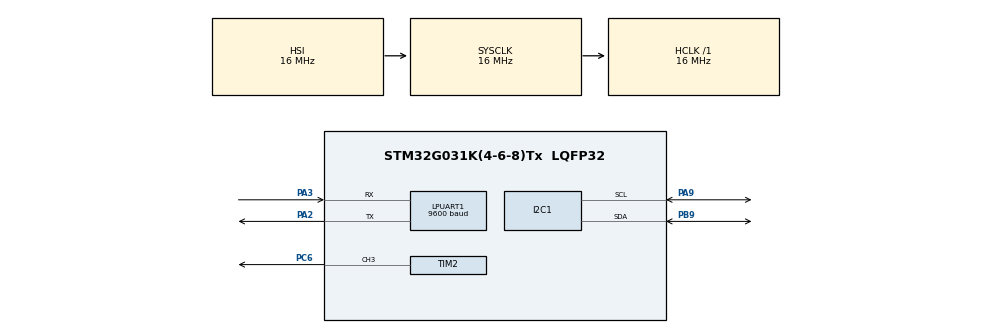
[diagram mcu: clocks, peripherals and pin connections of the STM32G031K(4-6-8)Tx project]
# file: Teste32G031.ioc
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I2C1.Timing=0x00503D58
LPUART1.BaudRate=9600
LPUART1.WordLength=UART_WORDLENGTH_8B
Mcu.Family=STM32G0
Mcu.Name=STM32G031K(4-6-8)Tx
Mcu.Package=LQFP32
PA2.Mode=Asynchronous
PA2.Signal=LPUART1_TX
PA3.Mode=Asynchronous
PA3.Signal=LPUART1_RX
PA9.Mode=I2C
PA9.Signal=I2C1_SCL
PB9.Mode=I2C
PB9.Signal=I2C1_SDA
PC6.Signal=S_TIM2_CH3
ProjectManager.HeapSize=0x200
ProjectManager.StackSize=0x400
ProjectManager.TargetToolchain=STM32CubeIDE
RCC.ADCFreq_Value=16000000
RCC.AHBFreq_Value=16000000
RCC.CortexFreq_Value=16000000
RCC.EXTERNAL_CLOCK_VALUE=12288000
RCC.HCLKFreq_Value=16000000
RCC.HSE_VALUE=8000000
RCC.HSI_VALUE=16000000
RCC.LSE_VALUE=32768
RCC.MSIAutoCalibration=DISABLED
RCC.MSICalibrationValue=0
RCC.SYSCLKFreq_VALUE=16000000
RCC.VCOOutputFreq_Value=128000000
SH.S_TIM2_CH3.0=TIM2_CH3,PWM Generation3 CH3
TIM2.Channel-PWM\ Generation3\ CH3=TIM_CHANNEL_3
TIM2.Period=999
TIM2.Prescaler=15
board=custom

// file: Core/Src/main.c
/* USER CODE BEGIN Header */
/**
  ******************************************************************************
  * @file           : main.c
  * @brief          : Main program body
  ******************************************************************************
  * @attention
  *
  * Copyright (c) 2026 STMicroelectronics.
  * All rights reserved.
  *
  * This software is licensed under terms that can be found in the LICENSE file
  * in the root directory of this software component.
  * If no LICENSE file comes with this software, it is provided AS-IS.
  *
  ******************************************************************************
  */
/* USER CODE END Header */
#include "main.h"

/* USER CODE BEGIN Includes */
#include "platform/platform.h"
#include <stdio.h>
#include "INA3221.h"
/* USER CODE END Includes */

I2C_HandleTypeDef hi2c1;

UART_HandleTypeDef hlpuart1;

TIM_HandleTypeDef htim2;

void SystemClock_Config(void);
static void MX_GPIO_Init(void);
static void MX_I2C1_Init(void);
static void MX_LPUART1_UART_Init(void);
static void MX_TIM2_Init(void);
/* USER CODE BEGIN PFP */
void I2C_Recover_Bus(void);
/* USER CODE END PFP */

/* USER CODE BEGIN 0 */
#ifdef __GNUC__

/* With GCC/RAISONANCE, small printf (option LD Linker->Libraries->Small printf
 set to 'Yes') calls __io_putchar() */
#define PUTCHAR_PROTOTYPE int __io_putchar(int ch)
#else
#define PUTCHAR_PROTOTYPE int fputc(int ch, FILE *f)
#endif /* __GNUC__ */

PUTCHAR_PROTOTYPE
{
 HAL_UART_Transmit(&hlpuart1, (uint8_t *)&ch, 1, 0xFFFF);
 return ch;
}
/* USER CODE END 0 */

int main(void)
{

  /* MCU Configuration--------------------------------------------------------*/

  /* Reset of all peripherals, Initializes the Flash interface and the Systick. */
  HAL_Init();

  /* Configure the system clock */
  SystemClock_Config();

  /* Initialize all configured peripherals */
  MX_GPIO_Init();
  MX_I2C1_Init();
  MX_LPUART1_UART_Init();
  MX_TIM2_Init();
  /* USER CODE BEGIN 2 */

  // ***************CONFIGURAÇÃO DO INA3221****************
  // 1. Configura a estrutura principal do sensor
    ina3221_t meu_sensor = {
        .device = { .i2c = &hi2c1, .address = 0x40 }, // Endereço padrão

        // 2. Preenche as configurações baseadas no struct do .h
        .config = {
            .ch1 = true,
            .ch2 = true,
            .ch3 = true,
            .avg_mode = 3,      // Exemplo: 3 (64 samples, confira o datasheet)
            .v_bus_ct = 4,      // Tempo de conversão (ex: 1.1ms)
            .v_sh_ct = 4,
            .op_mode = 7,       // Continuous Shunt and Bus

            // IMPORTANTE: Coloque o valor exato dos resistores soldados na sua placa!
            // Geralmente módulos INA3221 usam resistores de 0.1 ohm (R100)
            .ch1_resistor = 0.1f,
            .ch2_resistor = 0.1f,
            .ch3_resistor = 0.1f
        }
    };

    // 3. Inicializa (testa se o sensor está vivo e dá reset)
    if (ina3221_init(meu_sensor) != 0) {
        printf("Erro: Sensor nao encontrado!\r\n");
    }

    // 4. Aplica as configurações que definimos acima
    ina3221_config(meu_sensor);

    // 5. Cria a struct vazia que vai receber as medições
    ina3221_values_t leituras = {0};
  // ***************CONFIGURAÇÃO DO PWM****************

  pwm_t ledp = {.handle = &htim2, .channel = TIM_CHANNEL_3, .bits = 8};

  uint8_t dutyc = 0;

  pwm_start(ledp);
  /* USER CODE END 2 */

  /* Infinite loop */
  /* USER CODE BEGIN WHILE */
  while (1)
  {
	  // 1. Atualiza todos os valores chamando a função da sua biblioteca
	        error_t status = ina3221_mensurement(meu_sensor, &leituras);
	        // 2. Verificamos se houve erro de comunicação (status diferente de 0)
	              if (status != 0) {
	                  printf("\r\n[ALERTA] Comunicacao perdida com o INA3221!\r\n");
	                  printf("Tentando reiniciar o sensor...\r\n");

	                  I2C_Recover_Bus();

	                  // Tenta fazer o processo de inicialização de novo
	                  if (ina3221_init(meu_sensor) == 0) {
	                      // Se o init deu certo, manda as configurações novamente
	                      ina3221_config(meu_sensor);
	                      printf("[SUCESSO] Sensor reiniciado e reconfigurado!\r\n\n");
	                  } else {
	                      printf("[FALHA] Sensor continua offline. Verifique os fios!\r\n\n");
	                  }

	                  // Aguarda 2 segundos antes de tentar de novo para não travar o terminal com mensagens
	                  delay_ms(2000);

	                  // O comando 'continue' faz o código pular todo o resto do loop
	                  // e voltar imediatamente para o topo do 'while(1)'
	                  continue;
	              }

	        // 2. Extrai e converte os dados do CANAL 1
	        int ch1_tensao_mv   = (int)(leituras.ch1_bus_v * 1000.0f);
	        int ch1_corrente_ma = (int)(leituras.ch1_current * 1000.0f);
	        int ch1_potencia_mw = (int)(leituras.ch1_pot * 1000.0f);

	        // 3. Extrai e converte os dados do CANAL 2
	        int ch2_tensao_mv   = (int)(leituras.ch2_bus_v * 1000.0f);
	        int ch2_corrente_ma = (int)(leituras.ch2_current * 1000.0f);
	        int ch2_potencia_mw = (int)(leituras.ch2_pot * 1000.0f);

	        // 4. Extrai e converte os dados do CANAL 3
	        int ch3_tensao_mv   = (int)(leituras.ch3_bus_v * 1000.0f);
	        int ch3_corrente_ma = (int)(leituras.ch3_current * 1000.0f);
	        int ch3_potencia_mw = (int)(leituras.ch3_pot * 1000.0f);

	        // 5. Imprime tudo formatado no terminal serial
	        printf("======= LEITURAS INA3221 =======\r\n");
	        printf("CH1 -> Tensao: %5d mV | Corrente: %5d mA | Potencia: %5d mW\r\n", ch1_tensao_mv, ch1_corrente_ma, ch1_potencia_mw);
	        printf("CH2 -> Tensao: %5d mV | Corrente: %5d mA | Potencia: %5d mW\r\n", ch2_tensao_mv, ch2_corrente_ma, ch2_potencia_mw);
	        printf("CH3 -> Tensao: %5d mV | Corrente: %5d mA | Potencia: %5d mW\r\n", ch3_tensao_mv, ch3_corrente_ma, ch3_potencia_mw);
	        printf("================================\r\n\n");

	        // 6. Aguarda 2 segundos antes de atualizar a tela novamente
	        delay_ms(2000);
    /* USER CODE END WHILE */

  }
}

void SystemClock_Config(void)
{
  RCC_OscInitTypeDef RCC_OscInitStruct = {0};
  RCC_ClkInitTypeDef RCC_ClkInitStruct = {0};

  /** Configure the main internal regulator output voltage
  */
  HAL_PWREx_ControlVoltageScaling(PWR_REGULATOR_VOLTAGE_SCALE1);

  /** Initializes the RCC Oscillators according to the specified parameters
  * in the RCC_OscInitTypeDef structure.
  */
  RCC_OscInitStruct.OscillatorType = RCC_OSCILLATORTYPE_HSI;
  RCC_OscInitStruct.HSIState = RCC_HSI_ON;
  RCC_OscInitStruct.HSIDiv = RCC_HSI_DIV1;
  RCC_OscInitStruct.HSICalibrationValue = RCC_HSICALIBRATION_DEFAULT;
  RCC_OscInitStruct.PLL.PLLState = RCC_PLL_NONE;
  if (HAL_RCC_OscConfig(&RCC_OscInitStruct) != HAL_OK)
  {
    Error_Handler();
  }

  /** Initializes the CPU, AHB and APB buses clocks
  */
  RCC_ClkInitStruct.ClockType = RCC_CLOCKTYPE_HCLK|RCC_CLOCKTYPE_SYSCLK
                              |RCC_CLOCKTYPE_PCLK1;
  RCC_ClkInitStruct.SYSCLKSource = RCC_SYSCLKSOURCE_HSI;
  RCC_ClkInitStruct.AHBCLKDivider = RCC_SYSCLK_DIV1;
  RCC_ClkInitStruct.APB1CLKDivider = RCC_HCLK_DIV1;

  if (HAL_RCC_ClockConfig(&RCC_ClkInitStruct, FLASH_LATENCY_0) != HAL_OK)
  {
    Error_Handler();
  }
}

static void MX_I2C1_Init(void)
{

  hi2c1.Instance = I2C1;
  hi2c1.Init.Timing = 0x00503D58;
  hi2c1.Init.OwnAddress1 = 0;
  hi2c1.Init.AddressingMode = I2C_ADDRESSINGMODE_7BIT;
  hi2c1.Init.DualAddressMode = I2C_DUALADDRESS_DISABLE;
  hi2c1.Init.OwnAddress2 = 0;
  hi2c1.Init.OwnAddress2Masks = I2C_OA2_NOMASK;
  hi2c1.Init.GeneralCallMode = I2C_GENERALCALL_DISABLE;
  hi2c1.Init.NoStretchMode = I2C_NOSTRETCH_DISABLE;
  if (HAL_I2C_Init(&hi2c1) != HAL_OK)
  {
    Error_Handler();
  }

  /** Configure Analogue filter
  */
  if (HAL_I2CEx_ConfigAnalogFilter(&hi2c1, I2C_ANALOGFILTER_ENABLE) != HAL_OK)
  {
    Error_Handler();
  }

  /** Configure Digital filter
  */
  if (HAL_I2CEx_ConfigDigitalFilter(&hi2c1, 0) != HAL_OK)
  {
    Error_Handler();
  }

}

static void MX_LPUART1_UART_Init(void)
{

  hlpuart1.Instance = LPUART1;
  hlpuart1.Init.BaudRate = 9600;
  hlpuart1.Init.WordLength = UART_WORDLENGTH_8B;
  hlpuart1.Init.StopBits = UART_STOPBITS_1;
  hlpuart1.Init.Parity = UART_PARITY_NONE;
  hlpuart1.Init.Mode = UART_MODE_TX_RX;
  hlpuart1.Init.HwFlowCtl = UART_HWCONTROL_NONE;
  hlpuart1.Init.OneBitSampling = UART_ONE_BIT_SAMPLE_DISABLE;
  hlpuart1.Init.ClockPrescaler = UART_PRESCALER_DIV1;
  hlpuart1.AdvancedInit.AdvFeatureInit = UART_ADVFEATURE_NO_INIT;
  hlpuart1.FifoMode = UART_FIFOMODE_DISABLE;
  if (HAL_UART_Init(&hlpuart1) != HAL_OK)
  {
    Error_Handler();
  }
  if (HAL_UARTEx_SetTxFifoThreshold(&hlpuart1, UART_TXFIFO_THRESHOLD_1_8) != HAL_OK)
  {
    Error_Handler();
  }
  if (HAL_UARTEx_SetRxFifoThreshold(&hlpuart1, UART_RXFIFO_THRESHOLD_1_8) != HAL_OK)
  {
    Error_Handler();
  }
  if (HAL_UARTEx_DisableFifoMode(&hlpuart1) != HAL_OK)
  {
    Error_Handler();
  }

}

static void MX_TIM2_Init(void)
{

  TIM_MasterConfigTypeDef sMasterConfig = {0};
  TIM_OC_InitTypeDef sConfigOC = {0};

  htim2.Instance = TIM2;
  htim2.Init.Prescaler = 15;
  htim2.Init.CounterMode = TIM_COUNTERMODE_UP;
  htim2.Init.Period = 999;
  htim2.Init.ClockDivision = TIM_CLOCKDIVISION_DIV1;
  htim2.Init.AutoReloadPreload = TIM_AUTORELOAD_PRELOAD_DISABLE;
  if (HAL_TIM_PWM_Init(&htim2) != HAL_OK)
  {
    Error_Handler();
  }
  sMasterConfig.MasterOutputTrigger = TIM_TRGO_RESET;
  sMasterConfig.MasterSlaveMode = TIM_MASTERSLAVEMODE_DISABLE;
  if (HAL_TIMEx_MasterConfigSynchronization(&htim2, &sMasterConfig) != HAL_OK)
  {
    Error_Handler();
  }
  sConfigOC.OCMode = TIM_OCMODE_PWM1;
  sConfigOC.Pulse = 0;
  sConfigOC.OCPolarity = TIM_OCPOLARITY_HIGH;
  sConfigOC.OCFastMode = TIM_OCFAST_DISABLE;
  if (HAL_TIM_PWM_ConfigChannel(&htim2, &sConfigOC, TIM_CHANNEL_3) != HAL_OK)
  {
    Error_Handler();
  }
  HAL_TIM_MspPostInit(&htim2);

}

static void MX_GPIO_Init(void)
{

  /* GPIO Ports Clock Enable */
  __HAL_RCC_GPIOB_CLK_ENABLE();
  __HAL_RCC_GPIOA_CLK_ENABLE();
  __HAL_RCC_GPIOC_CLK_ENABLE();

}

/* USER CODE BEGIN 4 */

// *********************************** REINICIO DO I2C DO STM ************************************

void I2C_Recover_Bus(void)
{
    // 1. Avisa a biblioteca HAL para "esquecer" o estado atual do I2C
    HAL_I2C_DeInit(&hi2c1);

    // 2. Força um reset físico no hardware do periférico I2C1 usando os registradores de clock (RCC)
    __HAL_RCC_I2C1_FORCE_RESET();
    __HAL_RCC_I2C1_RELEASE_RESET();

    // 3. Chama a função gerada pelo próprio CubeIDE para reconfigurar os pinos, velocidade e filtros
    MX_I2C1_Init();
}

/* USER CODE END 4 */

void Error_Handler(void)
{
  __disable_irq();
  while (1)
  {
  }
}
